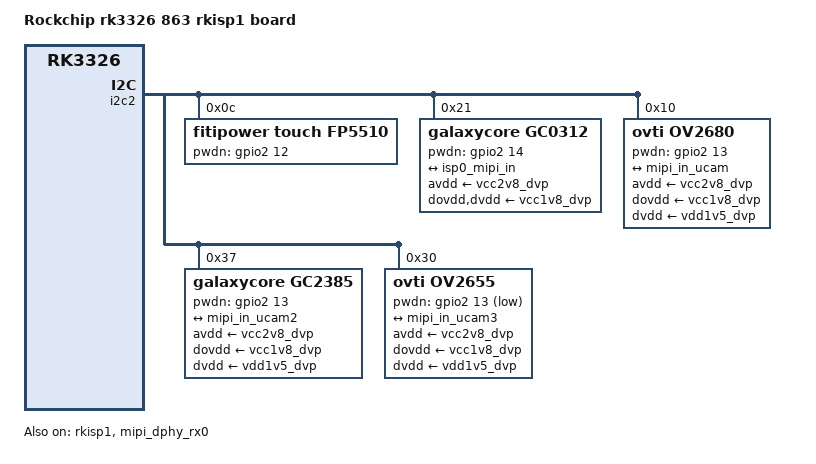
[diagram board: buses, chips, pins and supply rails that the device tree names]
// SPDX-License-Identifier: (GPL-2.0+ OR MIT)
/*
 * Copyright (c) 2019 Fuzhou Rockchip Electronics Co., Ltd
 */

/dts-v1/;
#include "rk3326-863-lp3-v10.dtsi"

/ {
	model = "Rockchip rk3326 863 rkisp1 board";
	compatible = "rockchip,rk3326-863-lp3-v10-rkisp1", "rockchip,rk3326";
};

&chosen {
	bootargs_ext = "androidboot.boot_devices=ff390000.dwmmc,ff3b0000.nandc";
};

&i2c2 {
	status = "okay";

    fp5510: fp5510@0c {
        compatible = "fitipower touch,fp5510";
        status = "okay";
        reg = <0x0c>;

        pwdn-gpios = <&gpio2 12 GPIO_ACTIVE_HIGH>;
        rockchip,vcm-start-current = <18>;
        rockchip,vcm-rated-current = <30>;
        rockchip,vcm-setp-mode = <13>;
        rockchip,camera-module-index = <0>;
        rockchip,camera-module-facing = "back";
    };

	gc0312@21 {
		status = "okay";
		compatible = "galaxycore,gc0312";
		reg = <0x21>;
		//pinctrl-names = "default";
		//pinctrl-0 = <&cif_clkout_m0>;

		clocks = <&cru SCLK_CIF_OUT>;
		clock-names = "xvclk";

		avdd-supply = <&vcc2v8_dvp>;
		dovdd-supply = <&vcc1v8_dvp>;
		dvdd-supply = <&vcc1v8_dvp>;

		pwdn-gpios = <&gpio2 14 GPIO_ACTIVE_HIGH>;
		rockchip,camera-module-index = <1>;
		rockchip,camera-module-facing = "front";
		rockchip,camera-module-name = "KYT-3359-V5.0";
		rockchip,camera-module-lens-name = "M216A-233";
		port {
			gc0312_out: endpoint {
				remote-endpoint = <&isp0_mipi_in>;
			};
		};
	};

    ov2680@10 {
        status = "okay";
        compatible = "ovti,ov2680";
        reg = <0x10>;

        clocks = <&cru SCLK_CIF_OUT>;
        clock-names = "xvclk";

        avdd-supply = <&vcc2v8_dvp>;
        dovdd-supply = <&vcc1v8_dvp>;
        dvdd-supply = <&vdd1v5_dvp>;

        pwdn-gpios = <&gpio2 13 GPIO_ACTIVE_HIGH>;
        rockchip,camera-module-index = <0>;
        rockchip,camera-module-facing = "back";
        rockchip,camera-module-name = "KYT-3359-V5.0";
        rockchip,camera-module-lens-name = "M216A-233";
        port {
            ucam_out: endpoint {
                remote-endpoint = <&mipi_in_ucam>;
                data-lanes = <1>;
            };
        };
    };

    gc2385@37 {
        status = "okay";
        compatible = "galaxycore,gc2385";
        reg = <0x37>;

        clocks = <&cru SCLK_CIF_OUT>;
        clock-names = "xvclk";

        avdd-supply = <&vcc2v8_dvp>;
        dovdd-supply = <&vcc1v8_dvp>;
        dvdd-supply = <&vdd1v5_dvp>;

        pwdn-gpios = <&gpio2 13 GPIO_ACTIVE_HIGH>;
        rockchip,camera-module-index = <0>;
        rockchip,camera-module-facing = "back";
        rockchip,camera-module-name = "KYT-4497";
        rockchip,camera-module-lens-name = "M2116A-233";
        port {
            ucam_out2: endpoint {
                remote-endpoint = <&mipi_in_ucam2>;
                data-lanes = <1>;
            };
        };
    };

    ov2655@30 {
        status = "okay";
        compatible = "ovti,ov2655";
        reg = <0x30>;

        clocks = <&cru SCLK_CIF_OUT>;
        clock-names = "xvclk";

        avdd-supply = <&vcc2v8_dvp>;
        dovdd-supply = <&vcc1v8_dvp>;
        dvdd-supply = <&vdd1v5_dvp>;

        pwdn-gpios = <&gpio2 13 GPIO_ACTIVE_LOW>;
        rockchip,camera-module-index = <0>;
        rockchip,camera-module-facing = "back";
        rockchip,camera-module-name = "KYT-3359-V5.0";
        rockchip,camera-module-lens-name = "M216A-233";
        port {
            ucam_out3: endpoint {
                remote-endpoint = <&mipi_in_ucam3>;
                data-lanes = <1>;
            };
        };
    };
};

&isp_mmu {
	status = "okay";
};

&rkisp1 {
    status = "okay";
    pinctrl-names = "default";
    pinctrl-0 = <&cif_clkout_m0 &dvp_d2d9_m0>;

    ports {
        #address-cells = <1>;
        #size-cells = <0>;

        port@0 {
            reg = <0>;
            #address-cells = <1>;
            #size-cells = <0>;

            isp0_mipi_in: endpoint@0 {
                reg = <0>;
                remote-endpoint = <&dphy_rx0_out>;
            };
        };

        port@1 {
            reg = <0>;
            #address-cells = <1>;
            #size-cells = <0>;

            dvp_in_fcam: endpoint@0 {
                reg = <0>;
                remote-endpoint = <&gc0312_out>;
            };
        };
    };
};

&mipi_dphy_rx0 {
	status = "okay";
	
	ports {
		#address-cells = <1>;
		#size-cells = <0>;

		port@0 {
			reg = <0>;
			#address-cells = <1>;
			#size-cells = <0>;

			mipi_in_ucam: endpoint@1 {
				reg = <1>;
				remote-endpoint = <&ucam_out>;
                data-lanes = <1>;
			};
		};

        port@1 {
			reg = <1>;
			#address-cells = <1>;
			#size-cells = <0>;

			dphy_rx0_out: endpoint@0 {
				reg = <0>;
				remote-endpoint = <&isp0_mipi_in>;
			};
        };

        port@2 {
			reg = <0>;
			#address-cells = <1>;
			#size-cells = <0>;

			mipi_in_ucam2: endpoint@2 {
				reg = <1>;
				remote-endpoint = <&ucam_out2>;
                data-lanes = <1>;
			};
        };

        port@3 {
			reg = <0>;
			#address-cells = <1>;
			#size-cells = <0>;

			mipi_in_ucam3: endpoint@3 {
				reg = <1>;
				remote-endpoint = <&ucam_out3>;
                data-lanes = <1>;
			};
        };
	};
};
